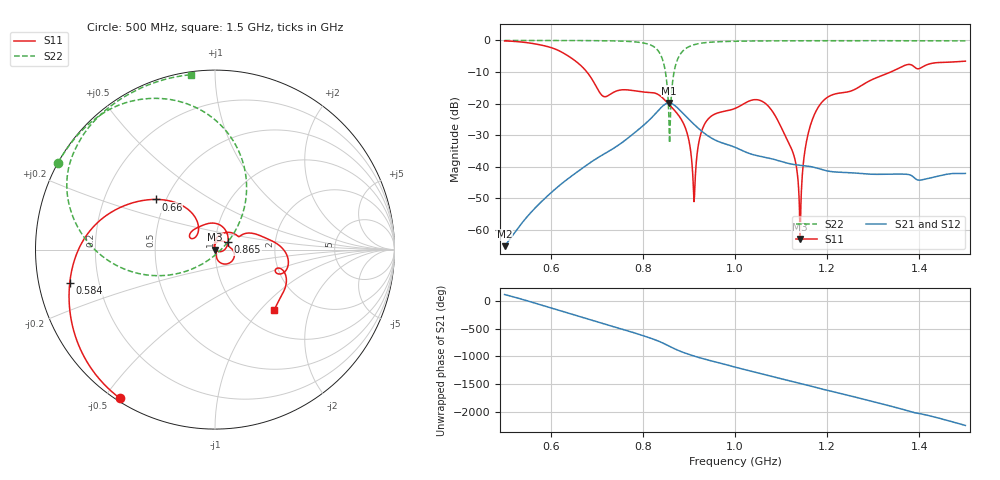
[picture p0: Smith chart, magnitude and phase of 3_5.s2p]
! TOUCHSTONE file generated by CST MICROWAVE STUDIO
! Date and time: Fri Oct  2 19:08:09 2020
! Project name: Scenario_1_Free_Space_out_of_line.cst
! Parameters = {Lambda=346.42; Step_1=17.321; dy1=312.958; dx1=866; L_HA=400; MT=2.54; Rad_Dielectric=30; Rad_Lower=7.3; Rad_Upper=30; a_HA=580; a_WG=246; b_HA=500; b_WG=121; c_HA=0; c_WG=187; d_feed=85; h_feed=15; h_lower=18; h_upper=40}
! Header version: 2018
! Port assignment regex: !\s*Touchstone port\s*([0-9]+)\s*=\s*(CST MWS port|CST DS port)\s*([0-9]+|Zmin|Zmax)\s*\(\"(.*)\"\)(\s*mode\s*([0-9]+))?.*
! Touchstone port assignment:
! Touchstone port 1 = CST MWS port 1 ("")
! Touchstone port 2 = CST MWS port 2 ("")
# GHz S DB R 50
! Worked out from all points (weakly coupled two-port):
!   1003 points, 500 MHz to 1.5 GHz, reference 50 ohm
!   highest |S21| = -19.83 dB at 857 MHz (marker M1); lowest = -65.2 dB at 500 MHz (marker M2)
!   lowest |S11| = -62.9 dB at 1.141 GHz (marker M3), VSWR 1.00, Z = 50.1 - j0.0321 ohm
!   |S11| at or under -10 dB: 678.6 MHz to 1.338 GHz (659.6 MHz wide, 65.4 % of centre)
!   |S22| runs from -32.5 to 0.0 dB; largest |S21 - S12| = 3.3e-05
!   S11 on the Smith chart (normalised r, x): 500 MHz: 0.01, -0.55; 584 MHz: 0.09, -0.11; 660 MHz: 0.44, +0.30; 865 MHz: 1.15, +0.10; 1.5 GHz: 1.38, -1.19
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0.5  -0.15 -122.6  -65.23 121.6  -65.23 121.6  -0.01 151.2
0.584  -1.62 -167.1  -50.56 -79.1  -50.56 -79.1  -0.02 145.4
0.66  -7.26 139.8  -41.43 89.9  -41.43 89.9  -0.04 139.0
0.667  -8.17 135.1  -40.69 72.4  -40.69 72.4  -0.04 138.4
0.715  -17.77 139.8  -36.08 -48.8  -36.08 -48.8  -0.10 132.9
0.79  -16.16 126.4  -28.32 124.0  -28.32 124.0  -0.56 117.0
0.834  -17.21 76.1  -22.16 -3.5  -22.16 -3.5  -3.42 85.6
0.847  -18.80 55.0  -20.36 -52.0  -20.36 -52.0  -8.41 62.3
0.857  -20.32 40.6  -19.83 -93.8  -19.83 -93.8  -26.84 13.7
0.865  -21.57 29.5  -20.20 -127.1  -20.20 -127.1  -12.56 -146.3
0.895  -28.87 -17.7  -24.31 130.4  -24.31 130.4  -2.39 172.1
0.911  -51.09 23.1  -26.60 86.4  -26.60 86.4  -1.37 162.5
0.936  -26.03 67.1  -29.71 26.1  -29.71 26.1  -0.69 152.8
1  -21.56 9.0  -33.88 -114.2  -33.87 -114.2  -0.27 140.3
1.079  -22.03 -67.7  -37.49 79.1  -37.49 79.1  -0.14 131.7
1.126  -35.65 -66.1  -39.30 -19.3  -39.30 -19.3  -0.11 127.5
1.141  -62.91 -26.7  -39.59 -49.7  -39.59 -49.7  -0.10 126.3
1.153  -33.78 100.8  -39.77 -74.8  -39.77 -74.8  -0.10 125.3
1.167  -25.46 86.9  -40.08 -105.4  -40.08 -105.5  -0.10 124.2
1.202  -17.90 48.6  -41.43 -178.3  -41.43 -178.3  -0.09 121.5
1.334  -10.26 10.5  -42.40 -93.5  -42.40 -93.5  -0.09 111.5
1.5  -6.57 -45.6  -42.16 -92.8  -42.19 -93.0  -0.14 98.0
